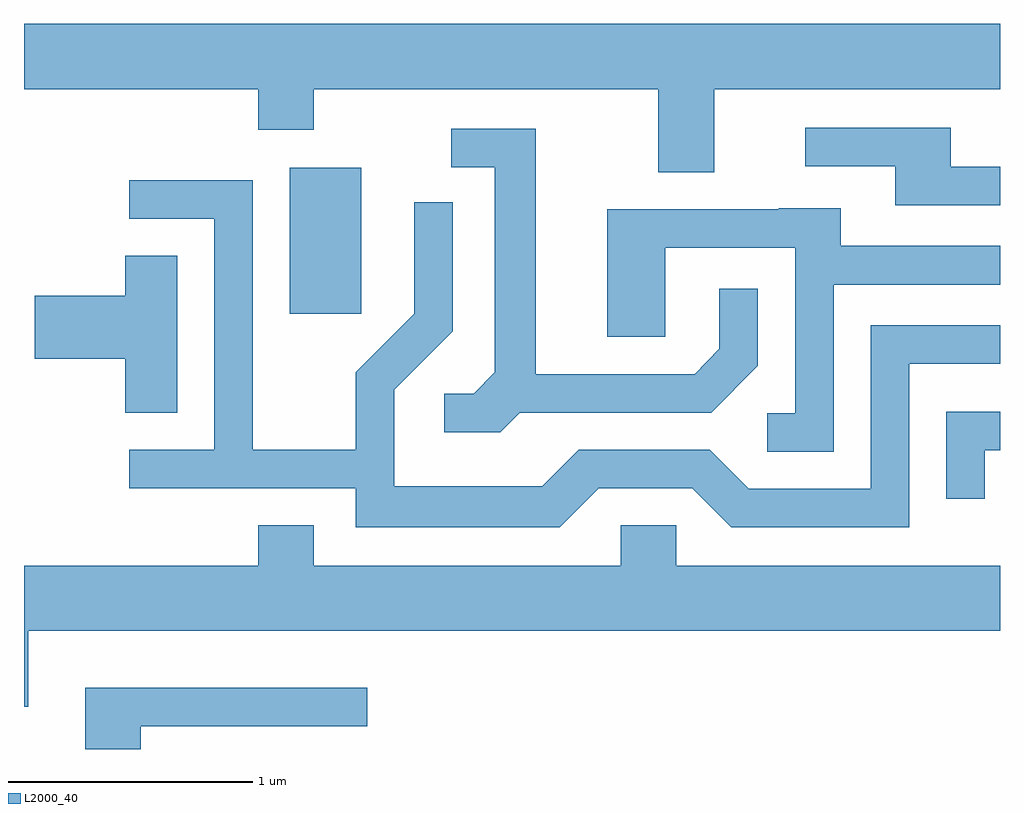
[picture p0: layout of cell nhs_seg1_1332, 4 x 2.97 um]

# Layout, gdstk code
import gdstk
lib = gdstk.Library(unit=1e-6, precision=1e-09)
def R(c, l, rs):  # rectangles x0, y0, x1, y1
    for r in rs: c.add(gdstk.rectangle(r[:2], r[2:], *l))
def P(c, l, *ps):  # polygons
    for p in ps: c.add(gdstk.Polygon(p, *l))
L2000_40 = (2000, 40)

nhs_seg1_1332 = lib.new_cell('nhs_seg1_1332')
R(nhs_seg1_1332, L2000_40, [(226.701,947.496,226.994,948.094)])
P(nhs_seg1_1332, L2000_40, [(228.439,948.416),(229.611,948.416),(229.611,948.684),(225.611,948.684),(225.611,948.416),(226.571,948.416),(226.571,948.251),(226.799,948.251),(226.799,948.416),(228.211,948.416),(228.211,948.076),(228.439,948.076)],
  [(229.611,948.099),(229.409,948.099),(229.409,948.259),(228.813,948.259),(228.813,948.101),(229.181,948.101),(229.181,947.941),(229.611,947.941)],
  [(227.642,947.091),(228.427,947.091),(228.619,947.284),(228.619,947.598),(228.461,947.598),(228.461,947.352),(228.359,947.249),(227.709,947.249),(227.709,948.254),(227.363,948.254),(227.363,948.096),(227.541,948.096),(227.541,947.257),(227.454,947.169),(227.333,947.169),(227.333,947.011),(227.562,947.011)],
  [(227.967,946.781),(228.349,946.781),(228.509,946.621),(229.239,946.621),(229.239,947.291),(229.611,947.291),(229.611,947.449),(229.081,947.449),(229.081,946.779),(228.582,946.779),(228.422,946.939),(227.884,946.939),(227.734,946.789),(227.129,946.789),(227.129,947.184),(227.369,947.424),(227.369,947.953),(227.211,947.953),(227.211,947.497),(226.971,947.257),(226.971,946.939),(226.549,946.939),(226.549,948.044),(226.043,948.044),(226.043,947.886),(226.391,947.886),(226.391,946.939),(226.043,946.939),(226.043,946.781),(226.971,946.781),(226.971,946.621),(227.807,946.621)],
  [(228.929,947.616),(229.611,947.616),(229.611,947.774),(228.959,947.774),(228.959,947.929),(228.705,947.929),(228.705,947.924),(228.001,947.924),(228.001,947.401),(228.239,947.401),(228.239,947.766),(228.771,947.766),(228.771,947.089),(228.658,947.089),(228.658,946.931),(228.929,946.931)],
  [(226.239,947.734),(226.026,947.734),(226.026,947.569),(225.656,947.569),(225.656,947.311),(226.026,947.311),(226.026,947.091),(226.239,947.091)],
  [(229.549,946.936),(229.611,946.936),(229.611,947.094),(229.391,947.094),(229.391,946.738),(229.549,946.738)],
  [(225.629,946.196),(229.611,946.196),(229.611,946.464),(228.284,946.464),(228.284,946.629),(228.056,946.629),(228.056,946.464),(226.799,946.464),(226.799,946.629),(226.571,946.629),(226.571,946.464),(225.611,946.464),(225.611,945.886),(225.629,945.886)],
  [(226.089,945.806),(227.018,945.806),(227.018,945.964),(225.861,945.964),(225.861,945.712),(226.089,945.712)])

lib.write_gds('nhs_seg1_1332.gds')
